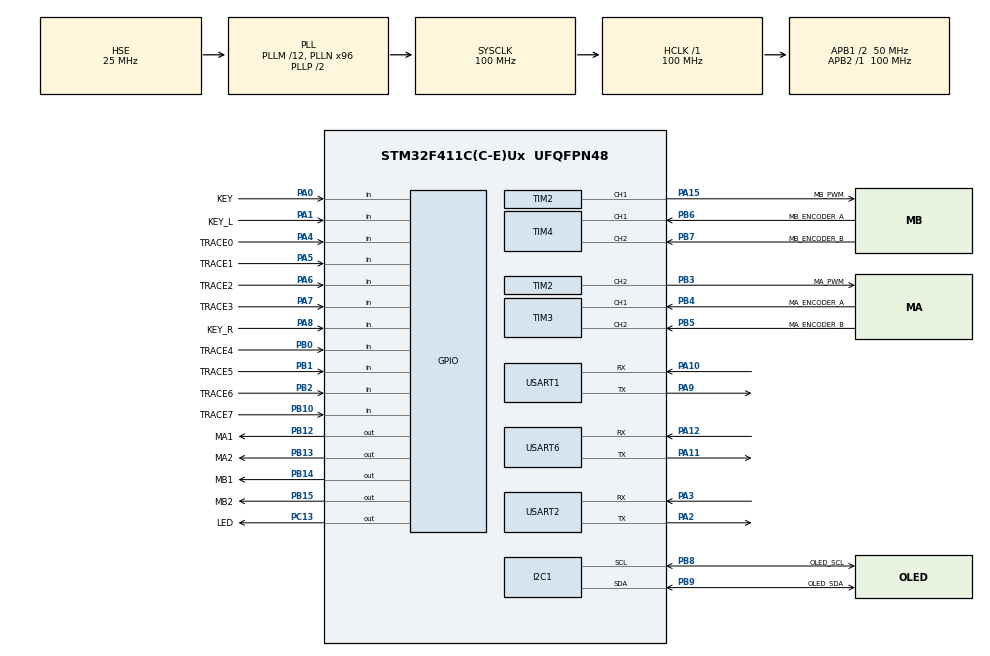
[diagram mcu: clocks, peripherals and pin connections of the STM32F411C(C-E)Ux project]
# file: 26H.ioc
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Dma.Request0=USART2_RX
Dma.Request1=USART2_TX
Dma.Request2=USART6_RX
Dma.Request3=USART6_TX
Dma.Request4=USART1_RX
Dma.Request5=USART1_TX
Dma.USART1_RX.4.Direction=DMA_PERIPH_TO_MEMORY
Dma.USART1_RX.4.FIFOMode=DMA_FIFOMODE_DISABLE
Dma.USART1_RX.4.Instance=DMA2_Stream2
Dma.USART1_RX.4.MemDataAlignment=DMA_MDATAALIGN_BYTE
Dma.USART1_RX.4.MemInc=DMA_MINC_ENABLE
Dma.USART1_RX.4.Mode=DMA_NORMAL
Dma.USART1_RX.4.PeriphDataAlignment=DMA_PDATAALIGN_BYTE
Dma.USART1_RX.4.PeriphInc=DMA_PINC_DISABLE
Dma.USART1_RX.4.Priority=DMA_PRIORITY_LOW
Dma.USART1_TX.5.Direction=DMA_MEMORY_TO_PERIPH
Dma.USART1_TX.5.FIFOMode=DMA_FIFOMODE_DISABLE
Dma.USART1_TX.5.Instance=DMA2_Stream7
Dma.USART1_TX.5.MemDataAlignment=DMA_MDATAALIGN_BYTE
Dma.USART1_TX.5.MemInc=DMA_MINC_ENABLE
Dma.USART1_TX.5.Mode=DMA_NORMAL
Dma.USART1_TX.5.PeriphDataAlignment=DMA_PDATAALIGN_BYTE
Dma.USART1_TX.5.PeriphInc=DMA_PINC_DISABLE
Dma.USART1_TX.5.Priority=DMA_PRIORITY_LOW
Dma.USART2_RX.0.Direction=DMA_PERIPH_TO_MEMORY
Dma.USART2_RX.0.FIFOMode=DMA_FIFOMODE_DISABLE
Dma.USART2_RX.0.Instance=DMA1_Stream5
Dma.USART2_RX.0.MemDataAlignment=DMA_MDATAALIGN_BYTE
Dma.USART2_RX.0.MemInc=DMA_MINC_ENABLE
Dma.USART2_RX.0.Mode=DMA_NORMAL
Dma.USART2_RX.0.PeriphDataAlignment=DMA_PDATAALIGN_BYTE
Dma.USART2_RX.0.PeriphInc=DMA_PINC_DISABLE
Dma.USART2_RX.0.Priority=DMA_PRIORITY_LOW
Dma.USART2_TX.1.Direction=DMA_MEMORY_TO_PERIPH
Dma.USART2_TX.1.FIFOMode=DMA_FIFOMODE_DISABLE
Dma.USART2_TX.1.Instance=DMA1_Stream6
Dma.USART2_TX.1.MemDataAlignment=DMA_MDATAALIGN_BYTE
Dma.USART2_TX.1.MemInc=DMA_MINC_ENABLE
Dma.USART2_TX.1.Mode=DMA_NORMAL
Dma.USART2_TX.1.PeriphDataAlignment=DMA_PDATAALIGN_BYTE
Dma.USART2_TX.1.PeriphInc=DMA_PINC_DISABLE
Dma.USART2_TX.1.Priority=DMA_PRIORITY_LOW
Dma.USART6_RX.2.Direction=DMA_PERIPH_TO_MEMORY
Dma.USART6_RX.2.FIFOMode=DMA_FIFOMODE_DISABLE
Dma.USART6_RX.2.Instance=DMA2_Stream1
Dma.USART6_RX.2.MemDataAlignment=DMA_MDATAALIGN_BYTE
Dma.USART6_RX.2.MemInc=DMA_MINC_ENABLE
Dma.USART6_RX.2.Mode=DMA_NORMAL
Dma.USART6_RX.2.PeriphDataAlignment=DMA_PDATAALIGN_BYTE
Dma.USART6_RX.2.PeriphInc=DMA_PINC_DISABLE
Dma.USART6_RX.2.Priority=DMA_PRIORITY_LOW
Dma.USART6_TX.3.Direction=DMA_MEMORY_TO_PERIPH
Dma.USART6_TX.3.FIFOMode=DMA_FIFOMODE_DISABLE
Dma.USART6_TX.3.Instance=DMA2_Stream6
Dma.USART6_TX.3.MemDataAlignment=DMA_MDATAALIGN_BYTE
Dma.USART6_TX.3.MemInc=DMA_MINC_ENABLE
Dma.USART6_TX.3.Mode=DMA_NORMAL
Dma.USART6_TX.3.PeriphDataAlignment=DMA_PDATAALIGN_BYTE
Dma.USART6_TX.3.PeriphInc=DMA_PINC_DISABLE
Dma.USART6_TX.3.Priority=DMA_PRIORITY_LOW
Mcu.Family=STM32F4
Mcu.Name=STM32F411C(C-E)Ux
Mcu.Package=UFQFPN48
NVIC.DMA1_Stream5_IRQn=true\:0\:0\:false\:false\:true\:false\:true\:true
NVIC.DMA1_Stream6_IRQn=true\:0\:0\:false\:false\:true\:false\:true\:true
NVIC.DMA2_Stream1_IRQn=true\:0\:0\:false\:false\:true\:false\:true\:true
NVIC.DMA2_Stream2_IRQn=true\:0\:0\:false\:false\:true\:false\:true\:true
NVIC.DMA2_Stream6_IRQn=true\:0\:0\:false\:false\:true\:false\:true\:true
NVIC.DMA2_Stream7_IRQn=true\:0\:0\:false\:false\:true\:false\:true\:true
NVIC.PriorityGroup=NVIC_PRIORITYGROUP_4
NVIC.TIM1_UP_TIM10_IRQn=true\:0\:0\:false\:false\:true\:true\:true\:true
NVIC.USART1_IRQn=true\:0\:0\:false\:false\:true\:false\:true\:true
NVIC.USART2_IRQn=true\:0\:0\:false\:false\:true\:false\:true\:true
NVIC.USART6_IRQn=true\:0\:0\:false\:false\:true\:false\:true\:true
PA0-WKUP.GPIO_Label=KEY
PA0-WKUP.GPIO_PuPd=GPIO_PULLUP
PA0-WKUP.Signal=GPIO_Input
PA1.GPIO_Label=KEY_L
PA1.GPIO_PuPd=GPIO_PULLUP
PA1.Signal=GPIO_Input
PA10.Mode=Asynchronous
PA10.Signal=USART1_RX
PA11.Mode=Asynchronous
PA11.Signal=USART6_TX
PA12.Mode=Asynchronous
PA12.Signal=USART6_RX
PA13.Mode=Serial_Wire
PA13.Signal=SYS_JTMS-SWDIO
PA14.Mode=Serial_Wire
PA14.Signal=SYS_JTCK-SWCLK
PA15.GPIO_Label=MB_PWM
PA15.Signal=S_TIM2_CH1_ETR
PA2.Mode=Asynchronous
PA2.Signal=USART2_TX
PA3.Mode=Asynchronous
PA3.Signal=USART2_RX
PA4.GPIO_Label=TRACE0 
PA4.GPIO_PuPd=GPIO_NOPULL
PA4.Signal=GPIO_Input
PA5.GPIO_Label=TRACE1
PA5.GPIO_PuPd=GPIO_NOPULL
PA5.Signal=GPIO_Input
PA6.GPIO_Label=TRACE2
PA6.GPIO_PuPd=GPIO_NOPULL
PA6.Signal=GPIO_Input
PA7.GPIO_Label=TRACE3
PA7.GPIO_PuPd=GPIO_NOPULL
PA7.Signal=GPIO_Input
PA8.GPIO_Label=KEY_R
PA8.GPIO_PuPd=GPIO_PULLUP
PA8.Signal=GPIO_Input
PA9.Mode=Asynchronous
PA9.Signal=USART1_TX
PB0.GPIO_Label=TRACE4
PB0.Signal=GPIO_Input
PB1.GPIO_Label=TRACE5
PB1.Signal=GPIO_Input
PB10.GPIO_Label=TRACE7
PB10.Signal=GPIO_Input
PB12.GPIO_Label=MA1
PB12.Signal=GPIO_Output
PB13.GPIO_Label=MA2
PB13.Signal=GPIO_Output
PB14.GPIO_Label=MB1
PB14.Signal=GPIO_Output
PB15.GPIO_Label=MB2
PB15.Signal=GPIO_Output
PB2.GPIO_Label=TRACE6
PB2.Signal=GPIO_Input
PB3.GPIO_Label=MA_PWM
PB3.Signal=S_TIM2_CH2
PB4.GPIO_Label=MA_ENCODER_A
PB4.GPIO_PuPd=GPIO_PULLUP
PB4.Signal=S_TIM3_CH1
PB5.GPIO_Label=MA_ENCODER_B
PB5.GPIO_PuPd=GPIO_PULLUP
PB5.Signal=S_TIM3_CH2
PB6.GPIO_Label=MB_ENCODER_A
PB6.GPIO_PuPd=GPIO_PULLUP
PB6.Signal=S_TIM4_CH1
PB7.GPIO_Label=MB_ENCODER_B
PB7.GPIO_PuPd=GPIO_PULLUP
PB7.Signal=S_TIM4_CH2
PB8.GPIO_Label=OLED_SCL
PB8.GPIO_Speed=GPIO_SPEED_FREQ_LOW
PB8.Mode=I2C
PB8.Signal=I2C1_SCL
PB9.GPIO_Label=OLED_SDA
PB9.GPIO_Speed=GPIO_SPEED_FREQ_LOW
PB9.Mode=I2C
PB9.Signal=I2C1_SDA
PC13-ANTI_TAMP.GPIO_Label=LED
PC13-ANTI_TAMP.GPIO_ModeDefaultOutputPP=GPIO_MODE_OUTPUT_OD
PC13-ANTI_TAMP.GPIO_PuPd=GPIO_NOPULL
PC13-ANTI_TAMP.PinState=GPIO_PIN_SET
PC13-ANTI_TAMP.Signal=GPIO_Output
PC14-OSC32_IN.Mode=LSE-External-Oscillator
PC14-OSC32_IN.Signal=RCC_OSC32_IN
PC15-OSC32_OUT.Mode=LSE-External-Oscillator
PC15-OSC32_OUT.Signal=RCC_OSC32_OUT
PH0\ -\ OSC_IN.Mode=HSE-External-Oscillator
PH0\ -\ OSC_IN.Signal=RCC_OSC_IN
PH1\ -\ OSC_OUT.Mode=HSE-External-Oscillator
PH1\ -\ OSC_OUT.Signal=RCC_OSC_OUT
ProjectManager.HeapSize=0x200
ProjectManager.StackSize=0x400
ProjectManager.TargetToolchain=MDK-ARM V5.32
RCC.48MHZClocksFreq_Value=50000000
RCC.AHBFreq_Value=100000000
RCC.APB1CLKDivider=RCC_HCLK_DIV2
RCC.APB1Freq_Value=50000000
RCC.APB1TimFreq_Value=100000000
RCC.APB2Freq_Value=100000000
RCC.APB2TimFreq_Value=100000000
RCC.CortexFreq_Value=100000000
RCC.HCLKFreq_Value=100000000
RCC.HSE_VALUE=25000000
RCC.HSI_VALUE=16000000
RCC.PLLM=12
RCC.PLLN=96
RCC.PLLSourceVirtual=RCC_PLLSOURCE_HSE
RCC.SYSCLKFreq_VALUE=100000000
RCC.SYSCLKSource=RCC_SYSCLKSOURCE_PLLCLK
RCC.VCOOutputFreq_Value=200000000
SH.S_TIM2_CH1_ETR.0=TIM2_CH1,PWM Generation1 CH1
SH.S_TIM2_CH2.0=TIM2_CH2,PWM Generation2 CH2
SH.S_TIM3_CH1.0=TIM3_CH1,Encoder_Interface
SH.S_TIM3_CH2.0=TIM3_CH2,Encoder_Interface
SH.S_TIM4_CH1.0=TIM4_CH1,Encoder_Interface
SH.S_TIM4_CH2.0=TIM4_CH2,Encoder_Interface
TIM1.Period=9999
TIM1.Prescaler=99
TIM2.Channel-PWM\ Generation1\ CH1=TIM_CHANNEL_1
TIM2.Channel-PWM\ Generation2\ CH2=TIM_CHANNEL_2
TIM2.Period=7199
TIM2.Pulse-PWM\ Generation1\ CH1=7200
TIM3.EncoderMode=TIM_ENCODERMODE_TI12
TIM4.EncoderMode=TIM_ENCODERMODE_TI12
USART1.VirtualMode=VM_ASYNC
USART2.VirtualMode=VM_ASYNC
USART6.VirtualMode=VM_ASYNC
VP_RTC_VS_RTC_Activate.Mode=RTC_Enabled
VP_TIM1_VS_ClockSourceINT.Mode=Internal
VP_TIM2_VS_ClockSourceINT.Mode=Internal
board=custom

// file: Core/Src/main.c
/* USER CODE BEGIN Header */
/**
 ******************************************************************************
 * @file           : main.c
 * @brief          : Main program body
 ******************************************************************************
 * @attention
 *
 * Copyright (c) 2026 STMicroelectronics.
 * All rights reserved.
 *
 * This software is licensed under terms that can be found in the LICENSE file
 * in the root directory of this software component.
 * If no LICENSE file comes with this software, it is provided AS-IS.
 *
 ******************************************************************************
 */
/* USER CODE END Header */
#include "main.h"
#include "dma.h"
#include "i2c.h"
#include "rtc.h"
#include "tim.h"
#include "usart.h"
#include "gpio.h"

/* USER CODE BEGIN Includes */
#include <stdio.h>
#include "OLED.h"
#include "motor.h"
#include "encoder.h"
#include "pid.h"
#include "track.h"
#include "trace.h"
#include "key.h"
#include "step_motor.h"
#include "k230_uart.h"
#include "ball_balance.h"
#include "calibration.h"
/* USER CODE END Includes */

/* USER CODE BEGIN PV */
/* ============================== 功能模式 ================================= */
typedef enum
{
    MODE_TRACK_PURE = 0, /* F1: 纯循迹 (开机默认) */
    MODE_BALL_DEMO,      /* F2: 平衡球自主演示 */
    MODE_DUAL_8S,        /* F3: 双控 8s  */
    MODE_DUAL_30S,       /* F4: 双控 30s */
    MODE_DUAL_CUSTOM,    /* F5: 自定义平衡目标 */
    MODE_COUNT           /* 模式总数 */
} FuncMode;

static char *g_mode_names[MODE_COUNT] = {
    "TRACK", "BALL", "DUAL8", "DUAL30", "CUSTOM"};

/* 简易绝对值 */
#define ABSF(x) ((x) < 0.0f ? -(x) : (x))

/* ============================== 运行状态 ================================= */
typedef enum
{
    STATE_IDLE = 0,    /* 空闲 (显示当前模式和提示) */
    STATE_RUNNING,     /* 运行中 (循迹和/或平衡) */
    STATE_ESTOP,       /* 急停 */
    STATE_CALIBRATION, /* 视觉标定 */
    STATE_ZERO_SET,    /* 步进电机零点设置 */
    STATE_CUSTOM_SAMP, /* F5: 采样目标坐标 */
} RunState;

/* ============================== 全局状态变量 ============================= */
static volatile RunState g_state = STATE_IDLE;
static volatile FuncMode g_mode = MODE_TRACK_PURE; /* 开机默认纯循迹 */
static volatile uint8_t g_trace_status = 0;
static volatile uint32_t g_run_ticks = 0; /* 10ms 运行计时 */
static volatile uint32_t g_run_limit = 0; /* 运行时限 (10ms 单位, 0=无限制) */
static uint32_t g_oled_tick = 0;
static uint8_t g_step_motor_enabled = 1; /* 步进电机使能标志 */
static uint32_t g_step_rearm_tick = 0;
static uint8_t g_step_rearm_pending = 0;

/* 缓启动 */
static int32_t g_ramp_speed = 0;        /* 当前缓启动速度 */
static int32_t g_prev_target_speed = 0; /* 上周期底盘目标速度 (用于前馈) */

/* F5 自定义目标 */
static float g_custom_target_x = 400.0f; /* F5 采样目标 */
static uint8_t g_custom_sampling = 0;    /* 采样进行中 */
static uint8_t g_custom_sample_cnt = 0;  /* 采样计数 */
static float g_custom_sample_sum = 0.0f;
static uint32_t g_custom_sample_tick = 0;

/* F2 自主演示 */
static uint8_t g_ball_demo_active = 0; /* F2 已启动 */
BallDemoPhase g_ball_demo_phase = BAL_DEMO_IDLE;

/* 全局电机速度上限 (F2 用, 0=不限制) */
uint16_t g_ball_speed_cap = 0;
/* USER CODE END PV */

void SystemClock_Config(void);

/* USER CODE BEGIN 0 */

/**
 * @brief TIM1 周期中断回调 (10ms)
 * @note  PSC=99, ARR=9999 → 100MHz/100/10000 = 10ms
 */
void HAL_TIM_PeriodElapsedCallback(TIM_HandleTypeDef *htim)
{
    if (htim->Instance != TIM1)
        return;

    /* 编码器更新 */
    Encoder_Update(10);

    /* 运行计时 (10ms分辨率) */
    if (g_state == STATE_RUNNING && g_mode != MODE_BALL_DEMO)
        g_run_ticks++;

    /* 时限检测 (F3/F4) */
    if (g_state == STATE_RUNNING && g_run_limit > 0 && g_run_ticks >= g_run_limit)
    {
        Track_Stop();
        Motor_SpeedControl_Init();
        BallBalance_Pause();
        g_state = STATE_IDLE;
        OLED_Clear();
        return;
    }

    /* 循迹读取 */
    g_trace_status = Trace_ReadAll();

    /* 循迹 + 速度闭环 (纯循迹 / 双控模式) */
    if (g_state == STATE_RUNNING && g_mode != MODE_BALL_DEMO)
    {
        /* 十字/岔路保护 */
        uint8_t bits = g_trace_status;
        uint8_t cnt = 0;
        for (uint8_t i = 0; i < 8; i++)
            if (bits & (1U << i))
                cnt++;
        if (cnt >= 3 && cnt <= 5 && g_run_ticks > 100)
        {
            if (g_mode == MODE_DUAL_8S || g_mode == MODE_DUAL_30S || g_mode == MODE_DUAL_CUSTOM)
            {
                /* F3/F4/F5: 标记停车, 主循环中延时2秒后刹停 */
                g_state = STATE_ESTOP;
                g_step_rearm_pending = 2; /* 特殊标记: 等待刹停 */
                g_step_rearm_tick = HAL_GetTick();
                Track_SetBaseSpeed(0); /* 立即停马达 */
                return;
            }
            else
            {
                Motor_EmergencyBrake(500);
                g_state = STATE_ESTOP;
                return;
            }
        }

        /* 缓启动 ramp (F3/F4/F5) */
        if (g_mode >= MODE_DUAL_8S && g_ramp_speed < (int32_t)TRACK_BASE_SPEED_DUAL)
        {
            g_ramp_speed += TRACK_RAMP_STEP;
            if (g_ramp_speed > (int32_t)TRACK_BASE_SPEED_DUAL)
                g_ramp_speed = TRACK_BASE_SPEED_DUAL;
            Track_SetBaseSpeed(g_ramp_speed);
        }

        Track_Process(g_trace_status);

        /* 前馈: 计算底盘加速度 → 传给平衡球系统 (平滑版, 避免转向抖动) */
        if (g_mode >= MODE_DUAL_8S)
        {
            int32_t avg_target = (g_target_speed_a + g_target_speed_b) / 2;
            /* 对 avg_target 做 EMA 平滑, 滤除转向差速的高频分量 */
            static float smooth_speed = 0.0f;
            smooth_speed = 0.15f * (float)avg_target + 0.85f * smooth_speed;
            float accel = (smooth_speed - (float)g_prev_target_speed) / 10.0f;
            BallBalance_SetFeedforward(accel);
            g_prev_target_speed = (int32_t)smooth_speed;
        }

        Motor_SpeedControl_Update();
    }

    /* 滚球平衡控制 */
    BallBalance_Tick();
}

/* USER CODE END 0 */

int main(void)
{

    /* MCU Configuration--------------------------------------------------------*/

    /* Reset of all peripherals, Initializes the Flash interface and the Systick. */
    HAL_Init();

    /* Configure the system clock */
    SystemClock_Config();

    /* Initialize all configured peripherals */
    MX_GPIO_Init();
    MX_DMA_Init();
    MX_I2C1_Init();
    MX_RTC_Init();
    MX_TIM1_Init();
    MX_USART1_UART_Init();
    MX_TIM2_Init();
    MX_TIM3_Init();
    MX_TIM4_Init();
    MX_USART2_UART_Init();
    MX_USART6_UART_Init();
    /* USER CODE BEGIN 2 */
    /* ---- 用户模块初始化 ---- */
    OLED_Init();
    OLED_Clear();
    OLED_ShowString(0, 0, "26H Boot...", 12, 0);

    Trace_Init();
    Motor_Init();
    Encoder_Init();
    Key_Init();
    Track_Init();
    Motor_SpeedControl_Init();

    /* ---- 张大头步进电机初始化 (USART6, 地址=0x01) ---- */
    StepMotor_Init(&g_step_motor,
                   STEP_MOTOR_DEFAULT_ADDR,
                   STEP_MOTOR_DEFAULT_SPEED,
                   STEP_MOTOR_DEFAULT_ACC);
    StepMotor_Enable(&g_step_motor, 1); /* 使能电机 */
    /* 上电立即回原点, 确保机械零点校准 */
    StepMotor_Home(&g_step_motor);

    OLED_Clear();
    OLED_ShowString(0, 0, "Press KEY", 12, 0);
    OLED_ShowString(0, 1, "to START", 12, 0);

    /* ---- K230 视觉模块 UART 接收 ---- */
    K230_UART_Init();

    /* ---- 钢球平衡控制器初始化 (目标 X=400) ---- */
    BallBalance_Init(400.0f);

    /* ---- 标定数据加载 (开机从 Flash 读取) ---- */
    Calibration_Init();

    /* 启动 TIM1 周期中断 (10ms, 需 CubeMX 中 TIM1 ARR=9999) */
    HAL_TIM_Base_Start_IT(&htim1);
    /* USER CODE END 2 */

    /* Infinite loop */
    while (1)
    {

        /* USER CODE BEGIN 3 */
        /* ---- 滚球平衡: 发送电机指令 (角度在 TIM1 中断中已计算) ---- */
        BallBalance_SendMotorCmd();

        /* ---- 非阻塞回零 / 缓减速 ---- */
        if (g_step_rearm_pending)
        {
            if (g_step_rearm_pending == 2)
            {
                /* 延时2秒后刹停, 期间保持循迹 */
                g_trace_status = Trace_ReadAll();
                Track_Process(g_trace_status);
                Motor_SpeedControl_Update();
                if (HAL_GetTick() - g_step_rearm_tick >= 2000)
                {
                    Track_Stop();
                    Motor_SpeedControl_Init();
                    BallBalance_Pause();
                    g_step_rearm_pending = 0;
                    g_state = STATE_IDLE;
                }
            }
            else if (HAL_GetTick() - g_step_rearm_tick >= 200)
            {
                g_step_rearm_pending = 0;
                StepMotor_Home(&g_step_motor);
                BallBalance_Resume();
            }
        }

        /* ---- 按键扫描 ---- */
        uint8_t key = Key_Scan();
        uint8_t key_l = KeyL_Scan();
        uint8_t key_r = KeyR_Scan();

        /* ================================================================ *
         *  全局: 长按 KEY 急停 (所有运行态 + 采样态)
         * ================================================================ */
        if (key == KEY_EVENT_LONG &&
            (g_state == STATE_RUNNING || g_state == STATE_CUSTOM_SAMP))
        {
            if (g_mode == MODE_DUAL_30S || g_mode == MODE_DUAL_CUSTOM)
            {
                /* F4/F5: 缓减速停车 — 降低基础速度让车自然滑停 */
                Track_SetBaseSpeed(200);
                /* 等 1.5s 后彻底停车 */
                for (volatile uint32_t i = 0; i < 150; i++)
                {
                    HAL_Delay(10);
                    BallBalance_SendMotorCmd(); /* 保持平衡球运行 */
                }
            }
            Track_Stop();
            Motor_SpeedControl_Init();
            BallBalance_Pause();
            g_ball_demo_active = 0;
            g_ball_demo_phase = BAL_DEMO_IDLE;
            g_ball_speed_cap = 0; /* 退出F2, 恢复PID模式 */
            g_custom_sampling = 0;
            g_state = STATE_IDLE;
            g_oled_tick = 0;
        }

        /* ================================================================ *
         *  状态机
         * ================================================================ */
        switch (g_state)
        {
        /* ---- IDLE: 模式切换 + 启动 ---- */
        case STATE_IDLE:
            if (key == KEY_EVENT_SHORT)
            {
                /* 根据当前模式启动 */
                g_run_ticks = 0;
                switch (g_mode)
                {
                case MODE_TRACK_PURE:
                    /* F1: 纯循迹 */
                    g_track.base_speed = TRACK_BASE_SPEED_DEFAULT;
                    g_track.turn_limit = TRACK_TURN_LIMIT_DEFAULT;
                    PID_Init(&g_track.pid_line,
                             TRACK_LINE_KP_DEFAULT, TRACK_LINE_KI_DEFAULT,
                             TRACK_LINE_KD_DEFAULT, 999999.0f);
                    g_track.pid_line.alpha = TRACK_LINE_ALPHA_DEFAULT;
                    Track_Start();
                    Motor_SpeedControl_Init();
                    BallBalance_Pause();
                    g_run_limit = 0;
                    break;

                case MODE_BALL_DEMO:
                    /* F2: 纯开环控制, 不依赖PID */
                    g_ball_speed_cap = BAL_DEMO_SPEED_CAP;
                    BallBalance_Resume(); /* 解除暂停, Tick 恢复运行 */
                    g_ball_demo_active = 1;
                    g_ball_demo_phase = BAL_DEMO_TO_POS;
                    g_run_limit = 0;
                    break;

                case MODE_DUAL_8S:
                    /* F3: 双控 8s — 平衡已在模式切换时启动, 这里启动循迹 */
                    g_ball_speed_cap = 0; /* 恢复全速 */
                    g_track.base_speed = TRACK_BASE_SPEED_DUAL;
                    g_track.turn_limit = TRACK_TURN_LIMIT_DUAL;
                    PID_Init(&g_track.pid_line,
                             TRACK_LINE_KP_DUAL, TRACK_LINE_KI_DUAL,
                             TRACK_LINE_KD_DUAL, 999999.0f);
                    g_track.pid_line.alpha = TRACK_LINE_ALPHA_DEFAULT;
                    g_ramp_speed = 0;
                    g_prev_target_speed = 0;
                    Track_Start();
                    Motor_SpeedControl_Init();
                    g_run_limit = DUAL_TIMEOUT_8S;
                    break;

                case MODE_DUAL_30S:
                    /* F4: 双控 30s */
                    g_ball_speed_cap = 0; /* 恢复全速 */
                    g_track.base_speed = TRACK_BASE_SPEED_DUAL;
                    g_track.turn_limit = TRACK_TURN_LIMIT_DUAL;
                    PID_Init(&g_track.pid_line,
                             TRACK_LINE_KP_DUAL, TRACK_LINE_KI_DUAL,
                             TRACK_LINE_KD_DUAL, 999999.0f);
                    g_track.pid_line.alpha = TRACK_LINE_ALPHA_DEFAULT;
                    g_ramp_speed = 0;
                    g_prev_target_speed = 0;
                    Track_Start();
                    Motor_SpeedControl_Init();
                    g_run_limit = DUAL_TIMEOUT_30S;
                    break;

                case MODE_DUAL_CUSTOM:
                    /* F5: KEY第一次 → 提示放球 */
                    if (!g_custom_sampling)
                    {
                        g_custom_sampling = 1;
                        g_custom_sample_cnt = 0;
                        g_custom_sample_sum = 0.0f;
                        g_custom_sample_tick = 0;
                        g_state = STATE_CUSTOM_SAMP;
                        g_oled_tick = 0;
                        goto skip_run_set;
                    }
                    break;

                default:
                    break;
                }
                g_state = STATE_RUNNING;
            skip_run_set:
                g_oled_tick = 0;
            }
            else if (key_l == KEY_EVENT_SHORT)
            {
                /* KEY_L 短按: 切换到上一个模式 */
                g_mode = (FuncMode)((g_mode == 0) ? (MODE_COUNT - 1) : ((int)g_mode - 1));
                g_oled_tick = 0;
                /* F2: 选中即回正+补偿, 不启动自平衡 */
                if (g_mode == MODE_BALL_DEMO)
                {
                    BallBalance_Pause();           /* 停PID */
                    StepMotor_Home(&g_step_motor); /* 回原点 */
                }
                /* F3/F4: 选中即自动启动零点平衡 + 前馈初始化 */
                else if (g_mode == MODE_DUAL_8S || g_mode == MODE_DUAL_30S)
                {
                    g_prev_target_speed = 0; /* 重置前馈历史 */
                    BallBalance_SetTarget(400.0f);
                    BallBalance_Resume();
                }
                /* F5: 选中即执行回零 */
                if (g_mode == MODE_DUAL_CUSTOM)
                {
                    BallBalance_Pause();
                    StepMotor_Home(&g_step_motor);
                }
            }
            else if (key_r == KEY_EVENT_SHORT)
            {
                /* KEY_R 短按: 切换到下一个模式 */
                g_mode = (FuncMode)(((int)g_mode + 1) % (int)MODE_COUNT);
                g_oled_tick = 0;
                /* F2: 选中即回正+补偿 */
                if (g_mode == MODE_BALL_DEMO)
                {
                    BallBalance_Pause();
                    StepMotor_Home(&g_step_motor);
                }
                /* F3/F4: 选中即自动启动零点平衡 + 前馈初始化 */
                else if (g_mode == MODE_DUAL_8S || g_mode == MODE_DUAL_30S)
                {
                    g_prev_target_speed = 0; /* 重置前馈历史 */
                    BallBalance_SetTarget(400.0f);
                    BallBalance_Resume();
                }
                /* F5: 选中即执行回零 */
                if (g_mode == MODE_DUAL_CUSTOM)
                {
                    BallBalance_Pause();
                    StepMotor_Home(&g_step_motor);
                }
            }
            else if (key_l == KEY_EVENT_LONG)
            {
                g_state = STATE_CALIBRATION;
                BallBalance_Pause();
                g_step_rearm_pending = 0;
                StepMotor_Home(&g_step_motor);
                Calibration_Enter();
                g_oled_tick = 0;
            }
            else if (key_r == KEY_EVENT_LONG)
            {
                BallBalance_Pause();
                g_state = STATE_ZERO_SET;
                g_step_rearm_pending = 0;
                StepMotor_Stop(&g_step_motor);
                HAL_Delay(100);
                StepMotor_Enable(&g_step_motor, 0);
                g_step_motor_enabled = 0;
                g_oled_tick = 0;
            }
            break;

        /* ---- RUNNING: 循迹 | 平衡演示 | 双控 ---- */
        case STATE_RUNNING:
        {
            /* F2 纯开环时间序列阶段机 */
            if (g_mode == MODE_BALL_DEMO && g_ball_demo_active)
            {
                static uint32_t demo_phase_tick = 0;
                switch (g_ball_demo_phase)
                {
                case BAL_DEMO_TO_POS: /* 左倾 → 球右滚到+5cm, T1 */
                    if (demo_phase_tick == 0)
                        demo_phase_tick = HAL_GetTick();
                    if (HAL_GetTick() - demo_phase_tick >= BAL_DEMO_TILT_LEFT)
                    {
                        g_ball_demo_phase = BAL_DEMO_BAL_POS; /* 回正+等待 T2 */
                        demo_phase_tick = 0;
                    }
                    break;
                case BAL_DEMO_BAL_POS: /* 回正, 等待 T2 */
                    if (demo_phase_tick == 0)
                        demo_phase_tick = HAL_GetTick();
                    if (HAL_GetTick() - demo_phase_tick >= BAL_DEMO_PAUSE1_MS)
                    {
                        g_ball_demo_phase = BAL_DEMO_TO_NEG; /* 右倾, T3 */
                        demo_phase_tick = 0;
                    }
                    break;
                case BAL_DEMO_TO_NEG: /* 右倾 → 球左滚到-5cm, T_RIGHT */
                    if (demo_phase_tick == 0)
                        demo_phase_tick = HAL_GetTick();
                    if (HAL_GetTick() - demo_phase_tick >= BAL_DEMO_TILT_RIGHT)
                    {
                        g_ball_demo_phase = BAL_DEMO_BAL_NEG;
                        demo_phase_tick = 0;
                    }
                    break;
                case BAL_DEMO_BAL_NEG: /* 永久回正保持 */
                    break;
                default:
                    break;
                }
            }
            break;
        }

        /* ---- ESTOP: 刹车状态机 ---- */
        case STATE_ESTOP:
            Motor_BrakeUpdate();
            if (key == KEY_EVENT_SHORT)
            {
                g_state = STATE_IDLE;
            }
            break;

        /* ---- 视觉标定 ---- */
        case STATE_CALIBRATION:
        {
            uint8_t cal_ret = Calibration_Process(key, key_l);
            if (cal_ret != 0)
            {
                BallBalance_Resume();
                if (!g_step_motor_enabled)
                {
                    g_step_motor_enabled = 1;
                    StepMotor_Enable(&g_step_motor, 1);
                }
                g_state = STATE_IDLE;
                g_oled_tick = 0;
                if (cal_ret == 1)
                {
                    OLED_ShowString(0, 0, "Cal Saved!", 12, 0);
                    HAL_Delay(800);
                }
                g_oled_tick = 0;
            }
            break;
        }

        /* ---- 零点设置 ---- */
        case STATE_ZERO_SET:
        {
            if (key == KEY_EVENT_SHORT)
            {
                StepMotor_ZeroPosition(&g_step_motor);
                StepMotor_Enable(&g_step_motor, 1);
                g_step_motor_enabled = 1;
                g_state = STATE_IDLE;
                BallBalance_Resume();
                StepMotor_Home(&g_step_motor);
                g_oled_tick = 0;
            }
            else if (key_r == KEY_EVENT_LONG)
            {
                StepMotor_Enable(&g_step_motor, 1);
                g_step_motor_enabled = 1;
                g_state = STATE_IDLE;
                BallBalance_Resume();
                g_oled_tick = 0;
            }
            break;
        }

        /* ---- F5: 自定义目标采样 ---- */
        case STATE_CUSTOM_SAMP:
        {
            if (key == KEY_EVENT_SHORT && !g_custom_sampling)
            {
                /* 开始采样 */
                g_custom_sampling = 1;
                g_custom_sample_cnt = 0;
                g_custom_sample_sum = 0.0f;
                g_custom_sample_tick = 0;
            }
            if (g_custom_sampling)
            {
                uint32_t now = HAL_GetTick();
                if (g_custom_sample_cnt < BAL_CUSTOM_SAMPLE_COUNT)
                {
                    if (now - g_custom_sample_tick >= BAL_CUSTOM_SAMPLE_MS)
                    {
                        g_custom_sample_tick = now;
                        if (g_k230_data.x != 65535)
                        {
                            g_custom_sample_sum += (float)g_k230_data.x;
                            g_custom_sample_cnt++;
                        }
                    }
                }
                else
                {
                    /* 采样完成 → 启动双控 */
                    g_custom_target_x = g_custom_sample_sum / (float)BAL_CUSTOM_SAMPLE_COUNT;
                    BallBalance_SetTarget(g_custom_target_x);
                    BallBalance_Resume();
                    g_track.base_speed = TRACK_BASE_SPEED_DUAL;
                    g_track.turn_limit = TRACK_TURN_LIMIT_DUAL;
                    PID_Init(&g_track.pid_line,
                             TRACK_LINE_KP_DUAL, TRACK_LINE_KI_DUAL,
                             TRACK_LINE_KD_DUAL, 999999.0f);
                    g_track.pid_line.alpha = TRACK_LINE_ALPHA_DEFAULT;
                    g_ramp_speed = 0;
                    g_prev_target_speed = 0;
                    Track_Start();
                    Motor_SpeedControl_Init();
                    g_run_ticks = 0;
                    g_run_limit = DUAL_TIMEOUT_30S;
                    g_custom_sampling = 0;
                    g_state = STATE_RUNNING;
                    g_oled_tick = 0;
                }
            }
            break;
        }
        } /* end switch */

        /* ================================================================ *
         *  OLED 显示 (每 100ms 刷新, 保证流畅)
         * ================================================================ */
        if (HAL_GetTick() - g_oled_tick > 100)
        {
            g_oled_tick = HAL_GetTick();
            char buf[22];
            OLED_Clear();

            /* ---- 标定模式独立显示 ---- */
            if (g_state == STATE_CALIBRATION)
            {
                CalStep cs = Calibration_GetStep();
                uint8_t prog = Calibration_GetSampleProgress();
                switch (cs)
                {
                case CAL_STEP_CENTER:
                    OLED_ShowString(15, 0, "Step 1/3", 12, 0);
                    OLED_ShowString(0, 2, "Place at 0cm", 12, 0);
                    snprintf(buf, sizeof(buf), "Samp %d/%d", prog, CAL_SAMPLE_COUNT);
                    OLED_ShowString(0, 5, (prog > 0) ? buf : "Press KEY", 12, 0);
                    break;
                case CAL_STEP_PLUS:
                    OLED_ShowString(15, 0, "Step 2/3", 12, 0);
                    OLED_ShowString(0, 2, "Place +5cm", 12, 0);
                    snprintf(buf, sizeof(buf), "Samp %d/%d", prog, CAL_SAMPLE_COUNT);
                    OLED_ShowString(0, 5, (prog > 0) ? buf : "Press KEY", 12, 0);
                    break;
                case CAL_STEP_MINUS:
                    OLED_ShowString(15, 0, "Step 3/3", 12, 0);
                    OLED_ShowString(0, 2, "Place -5cm", 12, 0);
                    snprintf(buf, sizeof(buf), "Samp %d/%d", prog, CAL_SAMPLE_COUNT);
                    OLED_ShowString(0, 5, (prog > 0) ? buf : "Press KEY", 12, 0);
                    break;
                case CAL_STEP_RESULT:
                    OLED_ShowString(15, 0, "Cal Done!", 12, 0);
                    snprintf(buf, sizeof(buf), "N0:%.0f N1:%.0f", Calibration_GetResult(0), Calibration_GetResult(1));
                    OLED_ShowString(0, 2, buf, 12, 0);
                    snprintf(buf, sizeof(buf), "N2:%.0f", Calibration_GetResult(2));
                    OLED_ShowString(0, 4, buf, 12, 0);
                    break;
                default:
                    break;
                }
            }
            /* ---- 零点设置独立显示 ---- */
            else if (g_state == STATE_ZERO_SET)
            {
                OLED_ShowString(15, 0, "Zero Set", 12, 0);
                OLED_ShowString(0, 2, "Motor OFF", 12, 0);
                OLED_ShowString(0, 3, "Adjust angle", 12, 0);
                OLED_ShowString(0, 5, "KEY:Set Zero", 12, 0);
                OLED_ShowString(0, 6, "KEY_R:Quit", 12, 0);
            }
            /* ---- F5 采样态显示 ---- */
            else if (g_state == STATE_CUSTOM_SAMP)
            {
                OLED_ShowString(15, 0, "CUSTOM", 12, 0);
                OLED_ShowString(0, 2, "Place Ball", 12, 0);
                OLED_ShowString(0, 3, "then press KEY", 12, 0);
                snprintf(buf, sizeof(buf), "Samp %d/%d", g_custom_sample_cnt, BAL_CUSTOM_SAMPLE_COUNT);
                OLED_ShowString(0, 5, buf, 12, 0);
            }
            /* ---- IDLE/IDLE 模式切换显示 ---- */
            else if (g_state == STATE_IDLE)
            {
                /* 第0行: 模式名 */
                snprintf(buf, sizeof(buf), "F%d: %s", (int)g_mode + 1, g_mode_names[g_mode]);
                OLED_ShowString(0, 0, buf, 12, 0);

                /* 第2行: 操作提示 */
                OLED_ShowString(0, 2, "KEY:Start", 12, 0);
                OLED_ShowString(0, 3, "L/R:Chg Mode", 12, 0);

                /* 第5-6行: 参数提示 */
                switch (g_mode)
                {
                case MODE_TRACK_PURE:
                    OLED_ShowString(0, 5, "Pure Track", 12, 0);
                    OLED_ShowString(0, 6, "No Ball Bal", 12, 0);
                    break;
                case MODE_BALL_DEMO:
                    OLED_ShowString(0, 5, "Ball Demo", 12, 0);
                    OLED_ShowString(0, 6, "Auto +-5cm", 12, 0);
                    break;
                case MODE_DUAL_8S:
                    OLED_ShowString(0, 5, "Track+Bal 8s", 12, 0);
                    OLED_ShowString(0, 6, "FeedFwd ON", 12, 0);
                    break;
                case MODE_DUAL_30S:
                    OLED_ShowString(0, 5, "Track+Bal 30s", 12, 0);
                    OLED_ShowString(0, 6, "FeedFwd ON", 12, 0);
                    break;
                case MODE_DUAL_CUSTOM:
                    OLED_ShowString(0, 5, "Custom Tgt", 12, 0);
                    OLED_ShowString(0, 6, "Place+Sample", 12, 0);
                    break;
                default:
                    break;
                }
            }
            /* ---- 运行态显示 ---- */
            else
            {
                /* 第0行: 8路循迹 + 模式 + 状态 */
                OLED_ShowNum(0, 0, (g_trace_status >> 7) & 1, 1, 12, 0);
                OLED_ShowNum(6, 0, (g_trace_status >> 6) & 1, 1, 12, 0);
                OLED_ShowNum(12, 0, (g_trace_status >> 5) & 1, 1, 12, 0);
                OLED_ShowNum(18, 0, (g_trace_status >> 4) & 1, 1, 12, 0);
                OLED_ShowNum(24, 0, (g_trace_status >> 3) & 1, 1, 12, 0);
                OLED_ShowNum(30, 0, (g_trace_status >> 2) & 1, 1, 12, 0);
                OLED_ShowNum(36, 0, (g_trace_status >> 1) & 1, 1, 12, 0);
                OLED_ShowNum(42, 0, (g_trace_status >> 0) & 1, 1, 12, 0);

                char *mode_str = g_mode_names[g_mode];
                OLED_ShowString(50, 0, mode_str, 12, 0);
                const char *sts = (g_state == STATE_RUNNING) ? "RUN" : (g_state == STATE_ESTOP) ? "STP"
                                                                                                : "   ";
                OLED_ShowString(100, 0, (char *)sts, 12, 0);

                /* 第1-2行: 运行时间 */
                {
                    uint32_t ds = g_run_ticks;
                    uint32_t sec = ds / 100;
                    uint32_t ds10 = ds % 100;
                    OLED_ShowNum(0, 1, sec, 3, 16, 0);
                    OLED_ShowChar(24, 1, '.', 16, 0);
                    OLED_ShowNum(32, 1, ds10, 2, 16, 0);
                    OLED_ShowChar(48, 1, 's', 16, 0);
                }

                /* 第3-4行: 电机状态 */
                if (g_mode != MODE_BALL_DEMO)
                {
                    snprintf(buf, sizeof(buf), "L:%+05d/%+06d", (int)g_target_speed_a, (int)g_speed_snapshot_a);
                    OLED_ShowString(0, 3, buf, 12, 0);
                    snprintf(buf, sizeof(buf), "R:%+05d/%+06d", (int)g_target_speed_b, (int)g_speed_snapshot_b);
                    OLED_ShowString(0, 4, buf, 12, 0);
                }

                /* 第5行: 误差/速度 */
                snprintf(buf, sizeof(buf), "E%+05d/%+05d BS%04d",
                         (int)(g_target_speed_a - g_speed_snapshot_a),
                         (int)(g_target_speed_b - g_speed_snapshot_b),
                         (int)g_track.base_speed);
                OLED_ShowString(0, 5, buf, 12, 0);

                /* 第6-7行: 平衡球状态 (F2-F5) */
                if (g_mode >= MODE_BALL_DEMO)
                {
                    float angle = BallBalance_GetAngle();
                    int32_t err = BallBalance_GetError();
                    float fx = BallBalance_GetFilteredX();
                    snprintf(buf, sizeof(buf), "Bal E%+05ld A%+.0f", (long)err, (double)angle);
                    OLED_ShowString(0, 6, buf, 12, 0);
                    if (g_k230_data.x != 65535)
                        snprintf(buf, sizeof(buf), "X%3u T%3u F%3.0f", g_k230_data.x, g_k230_data.target, (double)fx);
                    else
                        snprintf(buf, sizeof(buf), "X--- T%3u F%3.0f", g_k230_data.target, (double)fx);
                    OLED_ShowString(0, 7, buf, 12, 0);
                }
            }
            /* ---- 串口遥测 (与 OLED 刷新同频) ---- */
            {
                char tele[64];
                int len = snprintf(tele, sizeof(tele),
                                   "%d,%d,%d,%d\r\n",
                                   (int)g_target_speed_a,
                                   (int)g_speed_snapshot_a,
                                   (int)g_target_speed_b,
                                   (int)g_speed_snapshot_b);
                HAL_UART_Transmit(&huart2, (uint8_t *)tele, len, 10);
            }
        }
        /* USER CODE END 3 */
    }
}

void SystemClock_Config(void)
{
    RCC_OscInitTypeDef RCC_OscInitStruct = {0};
    RCC_ClkInitTypeDef RCC_ClkInitStruct = {0};

    /** Configure the main internal regulator output voltage
     */
    __HAL_RCC_PWR_CLK_ENABLE();
    __HAL_PWR_VOLTAGESCALING_CONFIG(PWR_REGULATOR_VOLTAGE_SCALE1);

    /** Initializes the RCC Oscillators according to the specified parameters
     * in the RCC_OscInitTypeDef structure.
     */
    RCC_OscInitStruct.OscillatorType = RCC_OSCILLATORTYPE_LSI | RCC_OSCILLATORTYPE_HSE;
    RCC_OscInitStruct.HSEState = RCC_HSE_ON;
    RCC_OscInitStruct.LSIState = RCC_LSI_ON;
    RCC_OscInitStruct.PLL.PLLState = RCC_PLL_ON;
    RCC_OscInitStruct.PLL.PLLSource = RCC_PLLSOURCE_HSE;
    RCC_OscInitStruct.PLL.PLLM = 12;
    RCC_OscInitStruct.PLL.PLLN = 96;
    RCC_OscInitStruct.PLL.PLLP = RCC_PLLP_DIV2;
    RCC_OscInitStruct.PLL.PLLQ = 4;
    if (HAL_RCC_OscConfig(&RCC_OscInitStruct) != HAL_OK)
    {
        Error_Handler();
    }

    /** Initializes the CPU, AHB and APB buses clocks
     */
    RCC_ClkInitStruct.ClockType = RCC_CLOCKTYPE_HCLK | RCC_CLOCKTYPE_SYSCLK | RCC_CLOCKTYPE_PCLK1 | RCC_CLOCKTYPE_PCLK2;
    RCC_ClkInitStruct.SYSCLKSource = RCC_SYSCLKSOURCE_PLLCLK;
    RCC_ClkInitStruct.AHBCLKDivider = RCC_SYSCLK_DIV1;
    RCC_ClkInitStruct.APB1CLKDivider = RCC_HCLK_DIV2;
    RCC_ClkInitStruct.APB2CLKDivider = RCC_HCLK_DIV1;

    if (HAL_RCC_ClockConfig(&RCC_ClkInitStruct, FLASH_LATENCY_3) != HAL_OK)
    {
        Error_Handler();
    }
}

void Error_Handler(void)
{
    __disable_irq();
    while (1)
    {
    }
}
